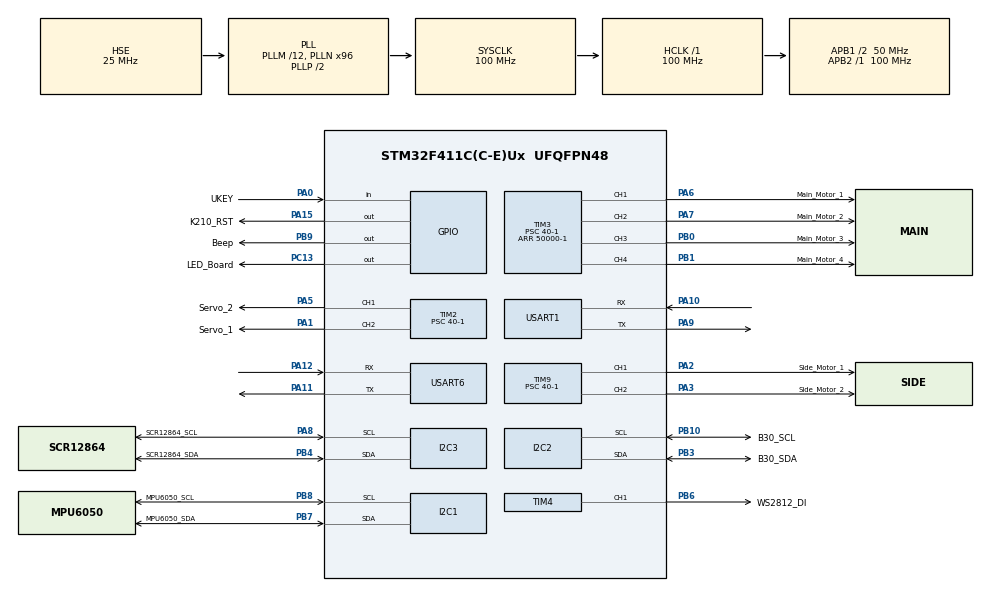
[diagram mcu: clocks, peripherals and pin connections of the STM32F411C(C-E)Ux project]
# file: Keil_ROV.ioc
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ADC1.Channel-5\#ChannelRegularConversion=ADC_CHANNEL_VREFINT
ADC1.NbrOfConversionFlag=1
ADC1.Rank-5\#ChannelRegularConversion=1
ADC1.SamplingTime-5\#ChannelRegularConversion=ADC_SAMPLETIME_3CYCLES
ADC1.master=1
Dma.I2C3_TX.0.Direction=DMA_MEMORY_TO_PERIPH
Dma.I2C3_TX.0.FIFOMode=DMA_FIFOMODE_DISABLE
Dma.I2C3_TX.0.Instance=DMA1_Stream4
Dma.I2C3_TX.0.MemDataAlignment=DMA_MDATAALIGN_BYTE
Dma.I2C3_TX.0.MemInc=DMA_MINC_ENABLE
Dma.I2C3_TX.0.Mode=DMA_NORMAL
Dma.I2C3_TX.0.PeriphDataAlignment=DMA_PDATAALIGN_BYTE
Dma.I2C3_TX.0.PeriphInc=DMA_PINC_DISABLE
Dma.I2C3_TX.0.Priority=DMA_PRIORITY_LOW
Dma.Request0=I2C3_TX
Dma.Request1=USART1_RX
Dma.Request2=USART1_TX
Dma.Request3=TIM4_CH1
Dma.TIM4_CH1.3.Direction=DMA_MEMORY_TO_PERIPH
Dma.TIM4_CH1.3.FIFOMode=DMA_FIFOMODE_DISABLE
Dma.TIM4_CH1.3.Instance=DMA1_Stream0
Dma.TIM4_CH1.3.MemDataAlignment=DMA_MDATAALIGN_HALFWORD
Dma.TIM4_CH1.3.MemInc=DMA_MINC_ENABLE
Dma.TIM4_CH1.3.Mode=DMA_NORMAL
Dma.TIM4_CH1.3.PeriphDataAlignment=DMA_PDATAALIGN_HALFWORD
Dma.TIM4_CH1.3.PeriphInc=DMA_PINC_DISABLE
Dma.TIM4_CH1.3.Priority=DMA_PRIORITY_LOW
Dma.USART1_RX.1.Direction=DMA_PERIPH_TO_MEMORY
Dma.USART1_RX.1.FIFOMode=DMA_FIFOMODE_DISABLE
Dma.USART1_RX.1.Instance=DMA2_Stream2
Dma.USART1_RX.1.MemDataAlignment=DMA_MDATAALIGN_BYTE
Dma.USART1_RX.1.MemInc=DMA_MINC_ENABLE
Dma.USART1_RX.1.Mode=DMA_NORMAL
Dma.USART1_RX.1.PeriphDataAlignment=DMA_PDATAALIGN_BYTE
Dma.USART1_RX.1.PeriphInc=DMA_PINC_DISABLE
Dma.USART1_RX.1.Priority=DMA_PRIORITY_LOW
Dma.USART1_TX.2.Direction=DMA_MEMORY_TO_PERIPH
Dma.USART1_TX.2.FIFOMode=DMA_FIFOMODE_DISABLE
Dma.USART1_TX.2.Instance=DMA2_Stream7
Dma.USART1_TX.2.MemDataAlignment=DMA_MDATAALIGN_BYTE
Dma.USART1_TX.2.MemInc=DMA_MINC_ENABLE
Dma.USART1_TX.2.Mode=DMA_NORMAL
Dma.USART1_TX.2.PeriphDataAlignment=DMA_PDATAALIGN_BYTE
Dma.USART1_TX.2.PeriphInc=DMA_PINC_DISABLE
Dma.USART1_TX.2.Priority=DMA_PRIORITY_LOW
FREERTOS.Tasks01=led_Task,23,128,LED_Task,As weak,NULL,Dynamic,NULL,NULL;ukey_Task,24,128,UKEY_Task,As external,NULL,Dynamic,NULL,NULL;mpu6050_task,25,128,MPU6050_Task,As external,NULL,Dynamic,NULL,NULL;oled_task,24,128,OLED_Task,As external,NULL,Dynamic,NULL,NULL;beep_task,24,128,BEEP_Task,As external,NULL,Dynamic,NULL,NULL;ms5837_read_tas,24,128,MS5837_Read_Task,As external,NULL,Dynamic,NULL,NULL;move_task,24,128,Move_Task,As external,NULL,Dynamic,NULL,NULL;turn_check_task,24,128,Turn_Check_Task,As external,NULL,Dynamic,NULL,NULL;ws2812_task,24,128,WS2812_Task,As external,NULL,Dynamic,NULL,NULL
I2C1.I2C_Mode=I2C_Fast
I2C2.I2C_Mode=I2C_Standard
I2C3.I2C_Mode=I2C_Fast
Mcu.Family=STM32F4
Mcu.Name=STM32F411C(C-E)Ux
Mcu.Package=UFQFPN48
NVIC.DMA1_Stream0_IRQn=true\:5\:0\:true\:false\:true\:true\:false\:true\:true
NVIC.DMA1_Stream4_IRQn=true\:5\:0\:false\:false\:true\:true\:false\:true\:true
NVIC.DMA2_Stream2_IRQn=true\:5\:0\:false\:false\:true\:true\:false\:true\:true
NVIC.DMA2_Stream7_IRQn=true\:5\:0\:true\:false\:true\:true\:false\:true\:true
NVIC.I2C3_EV_IRQn=true\:5\:0\:false\:false\:true\:true\:true\:true\:true
NVIC.PriorityGroup=NVIC_PRIORITYGROUP_4
NVIC.TIM1_TRG_COM_TIM11_IRQn=true\:0\:0\:false\:false\:true\:false\:false\:true\:true
NVIC.TimeBase=TIM1_TRG_COM_TIM11_IRQn
NVIC.TimeBaseIP=TIM11
NVIC.USART1_IRQn=true\:5\:0\:true\:false\:true\:true\:true\:true\:true
NVIC.USART6_IRQn=true\:5\:0\:true\:false\:true\:true\:true\:true\:true
PA0-WKUP.GPIO_Label=UKEY
PA0-WKUP.GPIO_PuPd=GPIO_PULLUP
PA0-WKUP.Signal=GPIO_Input
PA1.GPIO_Label=Servo_1
PA1.Signal=S_TIM2_CH2
PA10.Mode=Asynchronous
PA10.Signal=USART1_RX
PA11.Mode=Asynchronous
PA11.Signal=USART6_TX
PA12.Mode=Asynchronous
PA12.Signal=USART6_RX
PA13.Mode=Serial_Wire
PA13.Signal=SYS_JTMS-SWDIO
PA14.Mode=Serial_Wire
PA14.Signal=SYS_JTCK-SWCLK
PA15.GPIO_Label=K210_RST
PA15.Signal=GPIO_Output
PA2.GPIO_Label=Side_Motor_1
PA2.Signal=S_TIM9_CH1
PA3.GPIO_Label=Side_Motor_2
PA3.Signal=S_TIM9_CH2
PA5.GPIO_Label=Servo_2
PA5.Signal=S_TIM2_CH1_ETR
PA6.GPIO_Label=Main_Motor_1
PA6.Signal=S_TIM3_CH1
PA7.GPIO_Label=Main_Motor_2
PA7.Signal=S_TIM3_CH2
PA8.GPIO_Label=SCR12864_SCL
PA8.Mode=I2C
PA8.Signal=I2C3_SCL
PA9.Mode=Asynchronous
PA9.Signal=USART1_TX
PB0.GPIO_Label=Main_Motor_3
PB0.Signal=S_TIM3_CH3
PB1.GPIO_Label=Main_Motor_4
PB1.Signal=S_TIM3_CH4
PB10.GPIO_Label=B30_SCL
PB10.Mode=I2C
PB10.Signal=I2C2_SCL
PB3.GPIO_Label=B30_SDA
PB3.Mode=I2C
PB3.Signal=I2C2_SDA
PB4.GPIO_Label=SCR12864_SDA
PB4.Mode=I2C
PB4.Signal=I2C3_SDA
PB6.GPIO_Label=WS2812_DI
PB6.GPIO_Speed=GPIO_SPEED_FREQ_VERY_HIGH
PB6.Signal=S_TIM4_CH1
PB7.GPIO_Label=MPU6050_SDA
PB7.Mode=I2C
PB7.Signal=I2C1_SDA
PB8.GPIO_Label=MPU6050_SCL
PB8.Mode=I2C
PB8.Signal=I2C1_SCL
PB9.GPIO_Label=Beep
PB9.GPIO_ModeDefaultOutputPP=GPIO_MODE_OUTPUT_OD
PB9.PinState=GPIO_PIN_SET
PB9.Signal=GPIO_Output
PC13-ANTI_TAMP.GPIO_Label=LED_Board
PC13-ANTI_TAMP.Signal=GPIO_Output
PH0\ -\ OSC_IN.Mode=HSE-External-Oscillator
PH0\ -\ OSC_IN.Signal=RCC_OSC_IN
PH1\ -\ OSC_OUT.Mode=HSE-External-Oscillator
PH1\ -\ OSC_OUT.Signal=RCC_OSC_OUT
ProjectManager.HeapSize=0x200
ProjectManager.StackSize=0x400
ProjectManager.TargetToolchain=MDK-ARM V5.27
RCC.48MHZClocksFreq_Value=50000000
RCC.AHBFreq_Value=100000000
RCC.APB1CLKDivider=RCC_HCLK_DIV2
RCC.APB1Freq_Value=50000000
RCC.APB1TimFreq_Value=100000000
RCC.APB2Freq_Value=100000000
RCC.APB2TimFreq_Value=100000000
RCC.CortexFreq_Value=100000000
RCC.HCLKFreq_Value=100000000
RCC.HSE_VALUE=25000000
RCC.HSI_VALUE=16000000
RCC.LSE_VALUE=32768
RCC.PLLM=12
RCC.PLLN=96
RCC.PLLSourceVirtual=RCC_PLLSOURCE_HSE
RCC.SYSCLKFreq_VALUE=100000000
RCC.SYSCLKSource=RCC_SYSCLKSOURCE_PLLCLK
RCC.VCOOutputFreq_Value=200000000
SH.S_TIM2_CH1_ETR.0=TIM2_CH1,PWM Generation1 CH1
SH.S_TIM2_CH2.0=TIM2_CH2,PWM Generation2 CH2
SH.S_TIM3_CH1.0=TIM3_CH1,PWM Generation1 CH1
SH.S_TIM3_CH2.0=TIM3_CH2,PWM Generation2 CH2
SH.S_TIM3_CH3.0=TIM3_CH3,PWM Generation3 CH3
SH.S_TIM3_CH4.0=TIM3_CH4,PWM Generation4 CH4
SH.S_TIM4_CH1.0=TIM4_CH1,PWM Generation1 CH1
SH.S_TIM9_CH1.0=TIM9_CH1,PWM Generation1 CH1
SH.S_TIM9_CH2.0=TIM9_CH2,PWM Generation2 CH2
TIM2.Channel-PWM\ Generation1\ CH1=TIM_CHANNEL_1
TIM2.Channel-PWM\ Generation2\ CH2=TIM_CHANNEL_2
TIM2.Period=50000-1
TIM2.Prescaler=40-1
TIM2.Pulse-PWM\ Generation1\ CH1=3750
TIM2.Pulse-PWM\ Generation2\ CH2=3750
TIM3.Channel-PWM\ Generation1\ CH1=TIM_CHANNEL_1
TIM3.Channel-PWM\ Generation2\ CH2=TIM_CHANNEL_2
TIM3.Channel-PWM\ Generation3\ CH3=TIM_CHANNEL_3
TIM3.Channel-PWM\ Generation4\ CH4=TIM_CHANNEL_4
TIM3.Period=50000-1
TIM3.Prescaler=40-1
TIM3.Pulse-PWM\ Generation1\ CH1=3750
TIM3.Pulse-PWM\ Generation2\ CH2=3750
TIM3.Pulse-PWM\ Generation3\ CH3=3750
TIM3.Pulse-PWM\ Generation4\ CH4=3750
TIM4.Channel-PWM\ Generation1\ CH1=TIM_CHANNEL_1
TIM4.OCMode_PWM-PWM\ Generation1\ CH1=TIM_OCMODE_PWM2
TIM4.OCPolarity_1=TIM_OCPOLARITY_LOW
TIM4.Period=125-1
TIM9.Channel-PWM\ Generation1\ CH1=TIM_CHANNEL_1
TIM9.Channel-PWM\ Generation2\ CH2=TIM_CHANNEL_2
TIM9.Period=50000-1
TIM9.Prescaler=40-1
TIM9.Pulse-PWM\ Generation1\ CH1=3750
TIM9.Pulse-PWM\ Generation2\ CH2=3750
USART1.VirtualMode=VM_ASYNC
USART6.VirtualMode=VM_ASYNC
VP_ADC1_TempSens_Input.Mode=IN-TempSens
VP_ADC1_Vref_Input.Mode=IN-Vrefint
VP_FREERTOS_VS_CMSIS_V2.Mode=CMSIS_V2
VP_SYS_VS_tim11.Mode=TIM11
VP_TIM4_VS_ClockSourceINT.Mode=Internal
board=custom

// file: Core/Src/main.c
/* USER CODE BEGIN Header */
/**
  ******************************************************************************
  * @file           : main.c
  * @brief          : Main program body
  ******************************************************************************
  * @attention
  *
  * <h2><center>&copy; Copyright (c) 2021 STMicroelectronics.
  * All rights reserved.</center></h2>
  *
  * This software component is licensed by ST under Ultimate Liberty license
  * SLA0044, the "License"; You may not use this file except in compliance with
  * the License. You may obtain a copy of the License at:
  *                             www.st.com/SLA0044
  *
  ******************************************************************************
  */
/* USER CODE END Header */
#include "main.h"
#include "cmsis_os.h"
#include "adc.h"
#include "dma.h"
#include "i2c.h"
#include "tim.h"
#include "usart.h"
#include "gpio.h"

/* USER CODE BEGIN Includes */
#include <string.h>
#include <stdlib.h>
#include "../ESC/ESC.h"
#include "../MS5837/ms5837.h"
#include "../Verfint_ADC/Verfint_ADC.h"
#include "../Delay/Delay.h"
#include "../OLED_DMA/draw_api.h"
#include "../OLED_DMA/oled_myapp.h"
#include "../WS2812/WS2812.h"
#include "../Range2Percentage/Range2Percentage.h"
#include "../UART_DMA/UART_DMA.h"
#include "../MPU6050/mpu6050.h"
#include "../MPU6050/eMPL/inv_mpu.h"

/* USER CODE END Includes */

void SystemClock_Config(void);
void MX_FREERTOS_Init(void);

int main(void)
{

  /* MCU Configuration--------------------------------------------------------*/

  /* Reset of all peripherals, Initializes the Flash interface and the Systick. */
  HAL_Init();

  /* Configure the system clock */
  SystemClock_Config();

  /* Initialize all configured peripherals */
  MX_GPIO_Init();
	 HAL_GPIO_WritePin(Beep_GPIO_Port, Beep_Pin, 0);
         osDelay(500);
	 HAL_GPIO_WritePin(Beep_GPIO_Port, Beep_Pin, 1);
	    delay_ms(15000);
  MX_DMA_Init();
  MX_TIM9_Init();
  MX_I2C3_Init();
  MX_TIM3_Init();
  MX_I2C1_Init();
  MX_USART1_UART_Init();

  MX_I2C2_Init();
  MX_ADC1_Init();
  MX_USART6_UART_Init();
  MX_TIM2_Init();
  MX_TIM4_Init();
  /* USER CODE BEGIN 2 */
  delay_init();
  StartUartRxDMA();

  HAL_TIM_PWM_Start(&htim2, TIM_CHANNEL_1);
  HAL_TIM_PWM_Start(&htim2, TIM_CHANNEL_2);//舵机通道
//舵机复位--->yjt
	//0---->180      1250---->6250
	//__HAL_TIM_SetCompare(&htim2, TIM_CHANNEL_2, 1250);

pwm_out(-90);//-90---》90舵机

 HAL_GPIO_WritePin(Beep_GPIO_Port, Beep_Pin, 0);
         osDelay(500);
	 HAL_GPIO_WritePin(Beep_GPIO_Port, Beep_Pin, 1);

// while(MPU_Init());
//	while(mpu_dmp_init())
//	{
//		delay_ms(200);
//	}

  InitGraph();

HAL_Delay(5);
  DrawString(0, 0,"Pitch:");
  DrawString(2, 0,"Roll :");
  DrawString(4, 0,"Yaw  :");
  DrawString(6, 0,"Press:");
  UpdateScreen();

  WS_WriteAll_RGB(0, 0, 0);

  Get_Vrefint_Proportion();
  Get_Temprate();

  MS5837_init(&MS5837_HI2C);
	HAL_Delay(15000);
   ESC_Init(ESC_RTOS);//电机解锁
  /* USER CODE END 2 */

  /* Init scheduler */
  osKernelInitialize();  /* Call init function for freertos objects (in freertos.c) */
  MX_FREERTOS_Init();
  /* Start scheduler */
  osKernelStart();
 ESC_Init(ESC_RTOS);//电机解锁
  /* We should never get here as control is now taken by the scheduler */
  /* Infinite loop */
  while (1)
  {

  }
}

void SystemClock_Config(void)
{
  RCC_OscInitTypeDef RCC_OscInitStruct = {0};
  RCC_ClkInitTypeDef RCC_ClkInitStruct = {0};

  /** Configure the main internal regulator output voltage
  */
  __HAL_RCC_PWR_CLK_ENABLE();
  __HAL_PWR_VOLTAGESCALING_CONFIG(PWR_REGULATOR_VOLTAGE_SCALE1);
  /** Initializes the RCC Oscillators according to the specified parameters
  * in the RCC_OscInitTypeDef structure.
  */
  RCC_OscInitStruct.OscillatorType = RCC_OSCILLATORTYPE_HSE;
  RCC_OscInitStruct.HSEState = RCC_HSE_ON;
  RCC_OscInitStruct.PLL.PLLState = RCC_PLL_ON;
  RCC_OscInitStruct.PLL.PLLSource = RCC_PLLSOURCE_HSE;
  RCC_OscInitStruct.PLL.PLLM = 12;
  RCC_OscInitStruct.PLL.PLLN = 96;
  RCC_OscInitStruct.PLL.PLLP = RCC_PLLP_DIV2;
  RCC_OscInitStruct.PLL.PLLQ = 4;
  if (HAL_RCC_OscConfig(&RCC_OscInitStruct) != HAL_OK)
  {
    Error_Handler();
  }
  /** Initializes the CPU, AHB and APB buses clocks
  */
  RCC_ClkInitStruct.ClockType = RCC_CLOCKTYPE_HCLK|RCC_CLOCKTYPE_SYSCLK
                              |RCC_CLOCKTYPE_PCLK1|RCC_CLOCKTYPE_PCLK2;
  RCC_ClkInitStruct.SYSCLKSource = RCC_SYSCLKSOURCE_PLLCLK;
  RCC_ClkInitStruct.AHBCLKDivider = RCC_SYSCLK_DIV1;
  RCC_ClkInitStruct.APB1CLKDivider = RCC_HCLK_DIV2;
  RCC_ClkInitStruct.APB2CLKDivider = RCC_HCLK_DIV1;

  if (HAL_RCC_ClockConfig(&RCC_ClkInitStruct, FLASH_LATENCY_3) != HAL_OK)
  {
    Error_Handler();
  }
}

 /**
  * @brief  Period elapsed callback in non blocking mode
  * @note   This function is called  when TIM11 interrupt took place, inside
  * HAL_TIM_IRQHandler(). It makes a direct call to HAL_IncTick() to increment
  * a global variable "uwTick" used as application time base.
  * @param  htim : TIM handle
  * @retval None
  */
void HAL_TIM_PeriodElapsedCallback(TIM_HandleTypeDef *htim)
{
  if (htim->Instance == TIM11) {
    HAL_IncTick();
  }
}

void Error_Handler(void)
{
  __disable_irq();
  while (1)
  {
  }
}

/************************ (C) COPYRIGHT STMicroelectronics *****END OF FILE****/
